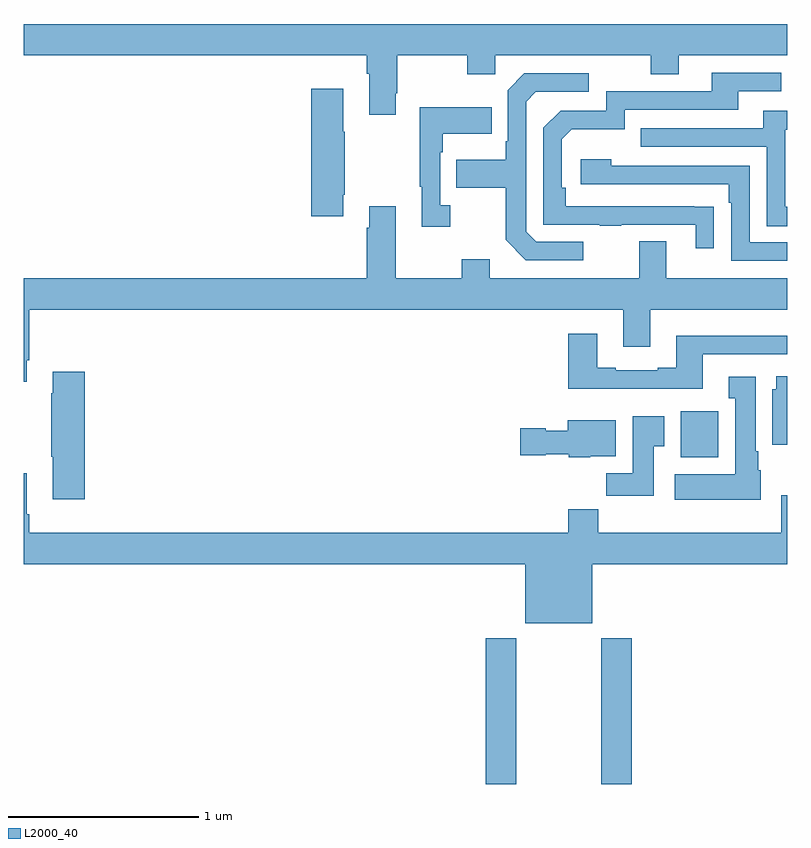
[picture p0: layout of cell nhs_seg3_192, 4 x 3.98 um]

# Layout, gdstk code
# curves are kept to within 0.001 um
import gdstk
lib = gdstk.Library(unit=1e-6, precision=1e-09)
def R(c, l, rs):  # rectangles x0, y0, x1, y1
    for r in rs: c.add(gdstk.rectangle(r[:2], r[2:], *l))
def P(c, l, *ps):  # polygons
    for p in ps: c.add(gdstk.Polygon(p, *l))
L2000_40 = (2000, 40)

nhs_seg3_192 = lib.new_cell('nhs_seg3_192')
R(nhs_seg3_192, L2000_40, [(121.421,730.4,121.581,731.164), (122.026,730.4,122.186,731.164), (122.441,732.11,122.638,732.352)])
P(nhs_seg3_192, L2000_40, [(120.949,734.017),(120.957,734.017),(120.957,734.216),(121.324,734.216),(121.324,734.117),(121.47,734.117),(121.47,734.216),(122.284,734.216),(122.284,734.117),(122.431,734.117),(122.431,734.216),(123,734.216),(123,734.38),(119,734.38),(119,734.216),(120.797,734.216),(120.797,734.12),(120.809,734.12),(120.809,733.905),(120.949,733.905)],
  [(122.615,733.424),(121.838,733.425),(121.838,733.522),(121.818,733.522),(121.818,733.776),(121.871,733.829),(122.148,733.829),(122.148,733.932),(122.743,733.932),(122.743,734.028),(122.968,734.028),(122.968,734.124),(122.603,734.124),(122.603,734.028),(122.052,734.028),(122.052,733.926),(121.812,733.926),(121.722,733.836),(121.722,733.329),(122.017,733.329),(122.017,733.324),(122.129,733.324),(122.129,733.329),(122.519,733.329),(122.519,733.206),(122.615,733.206)],
  [(121.93,733.239),(121.686,733.239),(121.632,733.293),(121.632,733.974),(121.683,734.025),(121.96,734.025),(121.96,734.121),(121.623,734.121),(121.536,734.034),(121.536,733.765),(121.524,733.765),(121.524,733.669),(121.267,733.669),(121.267,733.522),(121.524,733.522),(121.524,733.249),(121.629,733.143),(121.93,733.143)],
  [(120.673,733.486),(120.681,733.486),(120.681,733.817),(120.673,733.817),(120.673,734.041),(120.506,734.041),(120.506,733.374),(120.673,733.374)],
  [(121.234,733.43),(121.182,733.43),(121.182,733.709),(121.195,733.709),(121.195,733.805),(121.451,733.805),(121.451,733.945),(121.074,733.945),(121.074,733.529),(121.085,733.529),(121.085,733.317),(121.234,733.317)],
  [(123,733.422),(122.988,733.422),(122.988,733.827),(123,733.827),(123,733.927),(122.873,733.927),(122.873,733.833),(122.233,733.833),(122.233,733.737),(122.892,733.737),(122.892,733.321),(123,733.321)],
  [(123,733.236),(122.802,733.236),(122.802,733.638),(122.078,733.638),(122.078,733.672),(121.917,733.672),(121.917,733.542),(122.693,733.542),(122.693,733.445),(122.706,733.445),(122.706,733.14),(123,733.14)],
  [(119.017,732.619),(119.03,732.619),(119.03,732.884),(122.141,732.884),(122.141,732.69),(122.281,732.69),(122.281,732.884),(123,732.884),(123,733.048),(122.365,733.048),(122.365,733.243),(122.225,733.243),(122.225,733.048),(121.441,733.048),(121.441,733.147),(121.294,733.147),(121.294,733.048),(120.949,733.048),(120.949,733.426),(120.809,733.426),(120.809,733.313),(120.797,733.313),(120.797,733.048),(119,733.048),(119,732.507),(119.017,732.507)],
  [(122.557,732.651),(123,732.651),(123,732.748),(122.417,732.748),(122.417,732.58),(122.321,732.58),(122.321,732.567),(122.101,732.567),(122.101,732.58),(122.005,732.58),(122.005,732.757),(121.853,732.757),(121.853,732.47),(122.557,732.47)],
  [(119.321,732.559),(119.153,732.559),(119.153,732.446),(119.146,732.446),(119.146,732.115),(119.153,732.115),(119.153,731.892),(119.321,731.892)],
  [(123,732.535),(122.942,732.535),(122.942,732.468),(122.921,732.468),(122.921,732.176),(123,732.176)],
  [(122.86,732.042),(122.848,732.042),(122.848,732.142),(122.833,732.142),(122.833,732.532),(122.693,732.532),(122.693,732.419),(122.726,732.419),(122.726,732.022),(122.409,732.022),(122.409,731.888),(122.86,731.888)],
  [(122.299,732.169),(122.356,732.169),(122.356,732.325),(122.189,732.325),(122.189,732.028),(122.05,732.028),(122.05,731.91),(122.299,731.91)],
  [(121.968,732.116),(122.101,732.116),(122.101,732.304),(121.85,732.304),(121.85,732.25),(121.734,732.25),(121.734,732.263),(121.602,732.263),(121.602,732.121),(121.734,732.121),(121.734,732.128),(121.854,732.128),(121.854,732.11),(121.968,732.11)],
  [(121.978,731.552),(123,731.552),(123,731.911),(122.969,731.911),(122.969,731.716),(122.009,731.716),(122.009,731.84),(121.853,731.84),(121.853,731.716),(119.03,731.716),(119.03,731.812),(119.017,731.812),(119.017,732.028),(119,732.028),(119,731.552),(121.628,731.552),(121.628,731.243),(121.978,731.243)])

lib.write_gds('nhs_seg3_192.gds')
